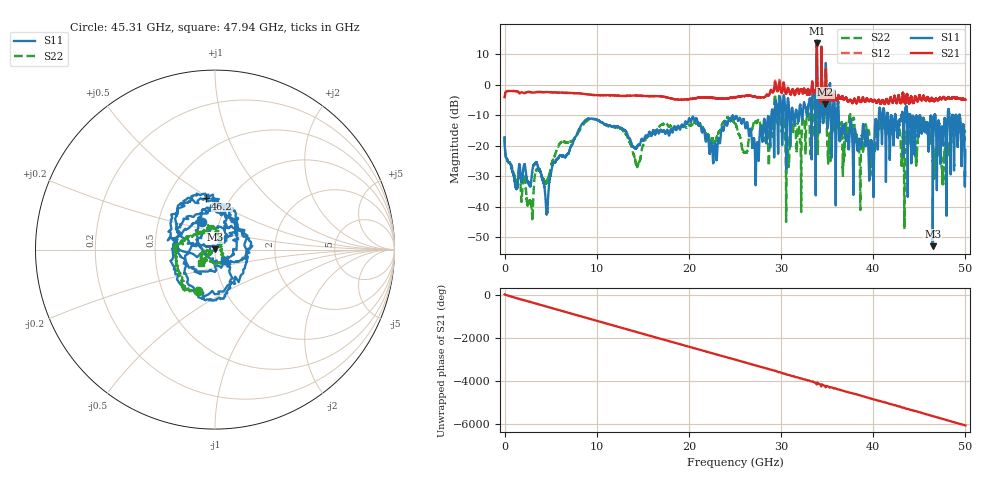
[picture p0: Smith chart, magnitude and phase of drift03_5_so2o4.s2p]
!Created with skrf (http://scikit-rf.org).
# Hz S RI R 50.0
!freq ReS11 ImS11 ReS21 ImS21 ReS12 ImS12 ReS22 ImS22
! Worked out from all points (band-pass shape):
!   10001 points, 300 kHz to 50 GHz, reference 50 ohm
!   highest |S21| = 13.62 dB at 33.88 GHz (marker M1); lowest = -6.4 dB at 34.79 GHz (marker M2)
!   |S21| within 3 dB of the highest: 33.86964 GHz to 33.89017 GHz (20.53 MHz wide, 0.0606 % of centre); 34.37688 GHz to 34.39156 GHz (14.69 MHz wide, 0.0427 % of centre)
!   lowest |S11| = -52.9 dB at 46.46 GHz (marker M3), VSWR 1.00, Z = 49.9 + j0.208 ohm
!   |S11| at or under -10 dB: start of sweep to 28.94 GHz; 36.26 GHz to 40.61 GHz (4.347 GHz wide, 11.3 % of centre); 45.05 GHz to 46.65 GHz (1.606 GHz wide, 3.5 % of centre) (the widest 3 of 52)
!   |S22| runs from -47.6 to 10.1 dB; largest |S21 - S12| = 0.77
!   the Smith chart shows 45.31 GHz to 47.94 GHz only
!   S11 on the Smith chart (normalised r, x): 45.31 GHz: 0.82, +0.26; 46.2 GHz: 0.77, +0.48; 47.94 GHz: 1.10, -0.12
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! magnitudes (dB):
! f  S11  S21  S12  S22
! 300 kHz  -17.2  -4.0  -4.0  -17.0
! 2.85 GHz  -32.3  -2.4  -2.4  -38.3
! 4.585 GHz  -42.0  -2.3  -2.3  -31.8
! 8.335 GHz  -13.1  -2.8  -2.8  -13.9
! 14.43 GHz  -20.0  -3.5  -3.5  -26.5
! 16.67 GHz  -15.5  -3.7  -3.7  -14.3
! 22.82 GHz  -19.3  -4.3  -4.3  -19.1
! 25 GHz  -11.0  -4.0  -4.0  -12.6
! 27.39 GHz  -19.3  -4.1  -4.1  -12.3
! 29.6 GHz  -10.4  -2.0  -2.1  -11.8
! 30.7 GHz  -5.8  -1.5  -1.6  -17.3
! 33.34 GHz  -13.8  -0.6  -0.7  -7.4
! 33.88 GHz  14.6  13.6  13.3  10.1
! 34.79 GHz  -3.1  -6.4  -5.1  -8.7
! 39.81 GHz  -18.6  -5.0  -4.9  -23.5
! 41.67 GHz  -12.4  -6.1  -6.0  -15.2
! 43.25 GHz  -13.9  -2.9  -2.9  -16.7
! 45.31 GHz  -15.4  -4.9  -4.9  -12.1
! 46.2 GHz  -10.8  -5.3  -5.2  -18.0
! 46.46 GHz  -52.9  -4.8  -4.8  -20.5
! 47.94 GHz  -22.4  -4.5  -4.6  -19.5
! 50 GHz  -21.4  -4.9  -4.8  -15.0
